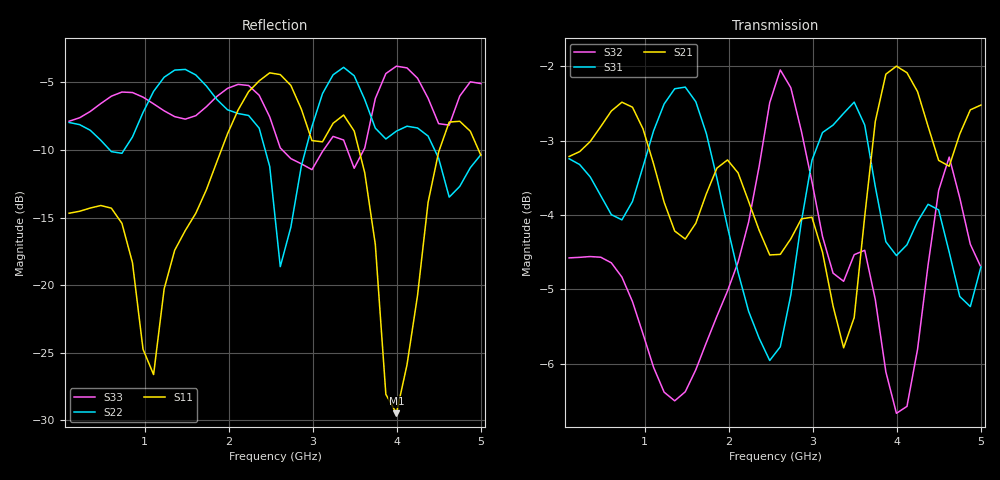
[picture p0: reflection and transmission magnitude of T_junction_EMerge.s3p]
! Generated by EMerge - 3-port S-parameters
! File generated: 2025-07-03 19:46
! Substrate: RO4003C
! h = 0.508 mm
! Design parameters:
! W0 = 1.13 mm # Width of the 50 ohm line
! L0 = 45 mm # Length of the 50 ohm line
! W_high = 0.272 mm # Width of the high impedance line
! L_high = 47.3 mm # Length of the high impedance line
! W_match = 0.61 mm # Width of the lambda/4 matching line
! L_match = 46 mm # Length of the lambda/4 matching line
! Air box height = 10 mm
! Run time = 3.032407979170481 min
# GHZ S MA R 50
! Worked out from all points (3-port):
!   40 points, 100 MHz to 5 GHz, reference 50 ohm
!   strongest paths, dB at 100 MHz, 1.356 GHz, 2.613 GHz, 3.869 GHz, 5 GHz:
!     S21: -3.2, -4.2, -4.5, -2.1, -2.5
!     S31: -3.2, -2.3, -5.8, -4.4, -4.7
!     S32: -4.6, -6.5, -2.1, -6.1, -4.7
!   lowest |S11| = -29.5 dB at 3.995 GHz (marker M1), VSWR 1.07, Z = 53.1 - j1.47 ohm
!   |S11| at or under -10 dB: start of sweep to 1.912 GHz; 3.549 GHz to 4.506 GHz (956.3 MHz wide, 23.7 % of centre); 4.972 GHz to end of sweep
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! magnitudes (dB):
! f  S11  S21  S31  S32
! 100 MHz  -14.7  -3.2  -3.2  -4.6
! 728.2 MHz  -15.4  -2.5  -4.1  -4.8
! 1.105 GHz  -26.6  -3.3  -2.9  -6.0
! 1.356 GHz  -17.4  -4.2  -2.3  -6.5
! 2.362 GHz  -4.9  -4.2  -5.7  -3.3
! 2.613 GHz  -4.4  -4.5  -5.8  -2.1
! 3.492 GHz  -8.6  -5.4  -2.5  -4.5
! 3.995 GHz  -29.5  -2.0  -4.5  -6.7
! 4.497 GHz  -10.1  -3.3  -3.9  -3.7
! 5 GHz  -10.4  -2.5  -4.7  -4.7
